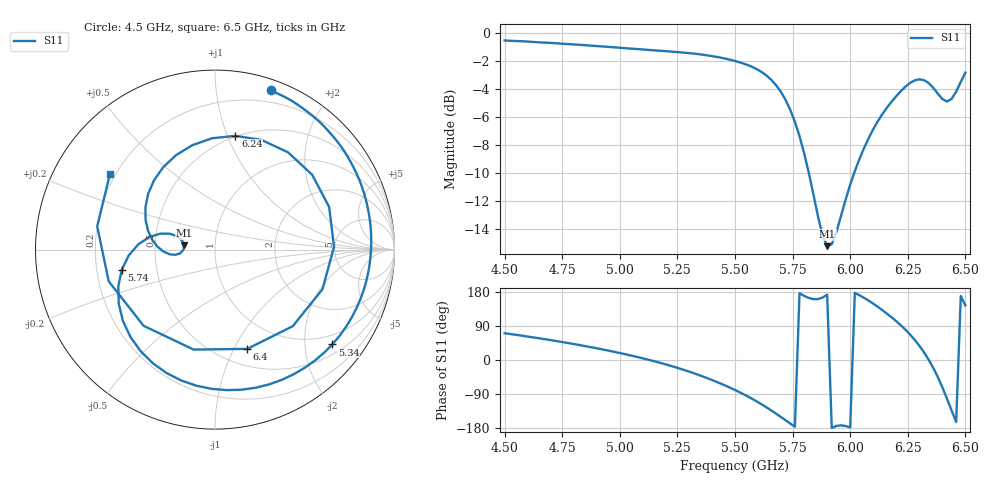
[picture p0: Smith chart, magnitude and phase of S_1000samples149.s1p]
! TOUCHSTONE file generated by CST MICROWAVE STUDIO
! Date and time: Thu Oct 27 04:07:33 2022
! Project name: L.cst
! Parameters = {Di=1.27; Epsilon_r=1.56; InnerDiameter=1.27; Length=2; Lf=10; Lg=60; OuterConductorThickness=0.2921; OuterDiameter=3.6; Wf=3; Wp=41.2; de=1.5; df=6.8; g=0.8; gx=2.41429; gy=1.21487; h=2.34; hf=1.524; px=8.23054; py=12.5352; w=9.7; wx=5.81626; wy=11.3204}
! Header version: 2018
! Port assignment regex: !\s*Touchstone port\s*([0-9]+)\s*=\s*(CST MWS port|CST DS port)\s*([0-9]+|Zmin|Zmax)\s*\(\"(.*)\"\)(\s*mode\s*([0-9]+))?.*
! Touchstone port assignment:
! Touchstone port 1 = CST MWS port 1 ("")
# GHz S DB R 50
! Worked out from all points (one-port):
!   101 points, 4.5 GHz to 6.5 GHz, reference 50 ohm
!   lowest |S11| = -15.2 dB at 5.9 GHz (marker M1), VSWR 1.42, Z = 35.3 + j1.67 ohm
!   |S11| at or under -10 dB: 5.821 GHz to 6.017 GHz (196.3 MHz wide, 3.32 % of centre)
!   S11 on the Smith chart (normalised r, x): 4.5 GHz: 0.09, +1.41; 5.34 GHz: 0.74, -2.65; 5.74 GHz: 0.31, -0.10; 6.24 GHz: 0.49, +1.07; 6.4 GHz: 0.68, -1.13; 6.5 GHz: 0.18, +0.32
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4.5  -0.54 70.6
4.76  -0.78 46.4
5  -1.06 18.4
5.14  -1.23 -1.8
5.26  -1.38 -22.6
5.34  -1.51 -38.9
5.5  -2.00 -79.2
5.62  -2.83 -118.6
5.68  -3.76 -142.3
5.74  -5.49 -167.7
5.76  -6.34 -176.1
5.82  -9.95 163.8
5.9  -15.20 172.4
6  -10.81 -177.9
6.08  -7.50 156.6
6.14  -5.77 131.3
6.2  -4.51 102.3
6.24  -3.82 79.8
6.26  -3.56 67.1
6.3  -3.31 37.7
6.34  -3.56 1.4
6.36  -3.90 -20.2
6.4  -4.71 -72.0
6.42  -4.89 -102.0
6.44  -4.70 -133.2
6.46  -4.18 -163.4
6.48  -3.49 168.8
6.5  -2.83 144.0
